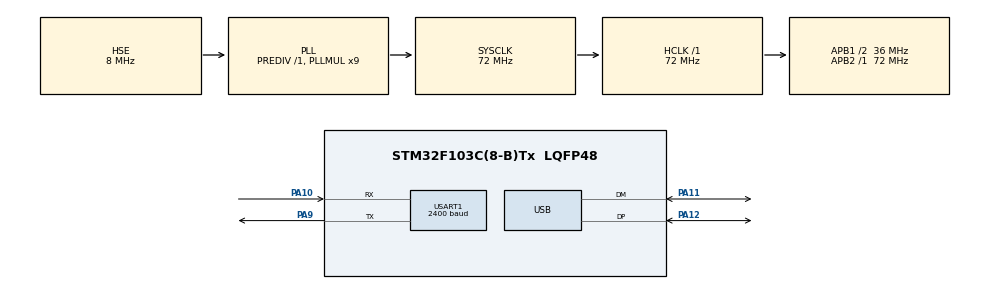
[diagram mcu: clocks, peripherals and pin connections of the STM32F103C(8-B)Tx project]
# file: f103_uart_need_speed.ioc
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Dma.Request0=USART1_TX
Dma.USART1_TX.0.Direction=DMA_MEMORY_TO_PERIPH
Dma.USART1_TX.0.Instance=DMA1_Channel4
Dma.USART1_TX.0.MemDataAlignment=DMA_MDATAALIGN_BYTE
Dma.USART1_TX.0.MemInc=DMA_MINC_ENABLE
Dma.USART1_TX.0.Mode=DMA_CIRCULAR
Dma.USART1_TX.0.PeriphDataAlignment=DMA_PDATAALIGN_BYTE
Dma.USART1_TX.0.PeriphInc=DMA_PINC_DISABLE
Dma.USART1_TX.0.Priority=DMA_PRIORITY_HIGH
Mcu.Family=STM32F1
Mcu.Name=STM32F103C(8-B)Tx
Mcu.Package=LQFP48
NVIC.DMA1_Channel4_IRQn=true\:0\:0\:false\:false\:true\:false\:true
NVIC.PriorityGroup=NVIC_PRIORITYGROUP_4
NVIC.TIM2_IRQn=true\:0\:0\:false\:false\:true\:true\:true
NVIC.USART1_IRQn=true\:0\:0\:false\:false\:true\:true\:true
NVIC.USB_LP_CAN1_RX0_IRQn=true\:0\:0\:false\:false\:true\:false\:true
PA10.Mode=Asynchronous
PA10.Signal=USART1_RX
PA11.Mode=Device
PA11.Signal=USB_DM
PA12.Mode=Device
PA12.Signal=USB_DP
PA13.Mode=Serial_Wire
PA13.Signal=SYS_JTMS-SWDIO
PA14.Mode=Serial_Wire
PA14.Signal=SYS_JTCK-SWCLK
PA9.Mode=Asynchronous
PA9.Signal=USART1_TX
PC14-OSC32_IN.Mode=LSE-External-Oscillator
PC14-OSC32_IN.Signal=RCC_OSC32_IN
PC15-OSC32_OUT.Mode=LSE-External-Oscillator
PC15-OSC32_OUT.Signal=RCC_OSC32_OUT
PD0-OSC_IN.Mode=HSE-External-Oscillator
PD0-OSC_IN.Signal=RCC_OSC_IN
PD1-OSC_OUT.Mode=HSE-External-Oscillator
PD1-OSC_OUT.Signal=RCC_OSC_OUT
ProjectManager.HeapSize=0x200
ProjectManager.StackSize=0x400
ProjectManager.TargetToolchain=STM32CubeIDE
RCC.AHBFreq_Value=72000000
RCC.APB1CLKDivider=RCC_HCLK_DIV2
RCC.APB1Freq_Value=36000000
RCC.APB1TimFreq_Value=72000000
RCC.APB2Freq_Value=72000000
RCC.APB2TimFreq_Value=72000000
RCC.HCLKFreq_Value=72000000
RCC.PLLMUL=RCC_PLL_MUL9
RCC.PLLSourceVirtual=RCC_PLLSOURCE_HSE
RCC.SYSCLKFreq_VALUE=72000000
RCC.SYSCLKSource=RCC_SYSCLKSOURCE_PLLCLK
RCC.USBFreq_Value=48000000
RCC.USBPrescaler=RCC_USBCLKSOURCE_PLL_DIV1_5
TIM2.AutoReloadPreload=TIM_AUTORELOAD_PRELOAD_ENABLE
TIM2.Period=7200
TIM2.Prescaler=1000
USART1.BaudRate=2400
USART1.VirtualMode=VM_ASYNC
USB_DEVICE.CLASS_NAME_FS=CDC
USB_DEVICE.VirtualMode=Cdc
USB_DEVICE.VirtualModeFS=Cdc_FS
VP_TIM2_VS_ClockSourceINT.Mode=Internal
VP_USB_DEVICE_VS_USB_DEVICE_CDC_FS.Mode=CDC_FS
board=custom

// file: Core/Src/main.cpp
/* USER CODE BEGIN Header */
/**
  ******************************************************************************
  * @file           : main.c
  * @brief          : Main program body
  ******************************************************************************
  * @attention
  *
  * Copyright (c) 2021 STMicroelectronics.
  * All rights reserved.
  *
  * This software is licensed under terms that can be found in the LICENSE file
  * in the root directory of this software component.
  * If no LICENSE file comes with this software, it is provided AS-IS.
  *
  ******************************************************************************
  */
/* USER CODE END Header */
#include "main.h"
#include "usb_device.h"

/* USER CODE BEGIN Includes */
#include "usbd_cdc_if.h"

#ifdef __cplusplus
extern "C"
{
#endif

/* USER CODE END Includes */

/* USER CODE BEGIN PM */

#define RX_BUFFER_SIZE 24
#define USB_CDC_TX_BUFFER_SIZE 98

/* USER CODE END PM */

TIM_HandleTypeDef htim2;

UART_HandleTypeDef huart1;
DMA_HandleTypeDef hdma_usart1_tx;

void SystemClock_Config(void);
static void MX_GPIO_Init(void);
static void MX_DMA_Init(void);
static void MX_USART1_UART_Init(void);
static void MX_TIM2_Init(void);

/* USER CODE BEGIN 0 */

// global vars
volatile uint16_t gv_char_read_count;
volatile uint16_t gv_char_read_speed;

uint8_t rxBuffer[RX_BUFFER_SIZE] = {0};

char g_to_usb_cdc[USB_COM_TX_BUFFER_SIZE];

uint8_t uart_intr_called;

void HAL_TIM_PeriodElapsedCallback(TIM_HandleTypeDef* htim)
{
	gv_char_read_speed = gv_char_read_count * 10; // char read speed scaling fix
	gv_char_read_count = 0;
}

void HAL_UART_RxCpltCallback(UART_HandleTypeDef *huart)
{
	sprintf(g_to_usb_cdc, "data : %s\t actual data rate : %u\r\n", rxBuffer, gv_char_read_speed);
	gv_char_read_count += RX_BUFFER_SIZE;
    HAL_UART_Receive_IT(&huart1, rxBuffer, RX_BUFFER_SIZE);
    uart_intr_called  = 1;
}

#ifdef __cplusplus
} // extern "C"
#endif

/* USER CODE END 0 */

int main(void)
{

  /* MCU Configuration--------------------------------------------------------*/

  /* Reset of all peripherals, Initializes the Flash interface and the Systick. */
  HAL_Init();

  /* Configure the system clock */
  SystemClock_Config();

  /* Initialize all configured peripherals */
  MX_GPIO_Init();
  MX_DMA_Init();
  MX_USART1_UART_Init();
  MX_USB_DEVICE_Init();
  MX_TIM2_Init();
  /* USER CODE BEGIN 2 */

  static const char dma_tx_string[] = "Finance Minister Arun Jaitley Tuesday hit out at former RBI governor Raghuram Rajan\
for predicting that the next banking crisis would be triggered by MSME lending, saying postmortem is easier\
than taking action when it was required. Rajan, who had as the chief economist at IMF warned of impending\
financial crisis of 2008, in a note to a parliamentary committee warned against ambitious credit targets and\
loan waivers, saying that they could be the sources of next banking crisis. Government should focus on sources\
of the next crisis, not just the last one.";

  /* USER CODE END 2 */

  /* Infinite loop */
  /* USER CODE BEGIN WHILE */

  // Begin Timer Intr
  HAL_TIM_Base_Start_IT(&htim2);

  // Cyclic DMA Tx
  HAL_UART_Transmit_DMA(&huart1, (uint8_t *)dma_tx_string, strlen(dma_tx_string));

  // UART Rx NVIC Intr,
  HAL_UART_Receive_IT(&huart1, rxBuffer, RX_BUFFER_SIZE);

  while (1)
  {
    /* USER CODE END WHILE */

    /* USER CODE BEGIN 3 */
	  if (uart_intr_called){
		  CDC_Transmit_FS((uint8_t *)g_to_usb_cdc, strlen(g_to_usb_cdc));
		  uart_intr_called = 0;
	  }

	  //HAL_Delay(100);
  }
  /* USER CODE END 3 */
}

#ifdef __cplusplus
extern "C"
{
#endif

void SystemClock_Config(void)
{
  RCC_OscInitTypeDef RCC_OscInitStruct = {0};
  RCC_ClkInitTypeDef RCC_ClkInitStruct = {0};
  RCC_PeriphCLKInitTypeDef PeriphClkInit = {0};

  /** Initializes the RCC Oscillators according to the specified parameters
  * in the RCC_OscInitTypeDef structure.
  */
  RCC_OscInitStruct.OscillatorType = RCC_OSCILLATORTYPE_HSE;
  RCC_OscInitStruct.HSEState = RCC_HSE_ON;
  RCC_OscInitStruct.HSEPredivValue = RCC_HSE_PREDIV_DIV1;
  RCC_OscInitStruct.HSIState = RCC_HSI_ON;
  RCC_OscInitStruct.PLL.PLLState = RCC_PLL_ON;
  RCC_OscInitStruct.PLL.PLLSource = RCC_PLLSOURCE_HSE;
  RCC_OscInitStruct.PLL.PLLMUL = RCC_PLL_MUL9;
  if (HAL_RCC_OscConfig(&RCC_OscInitStruct) != HAL_OK)
  {
    Error_Handler();
  }
  /** Initializes the CPU, AHB and APB buses clocks
  */
  RCC_ClkInitStruct.ClockType = RCC_CLOCKTYPE_HCLK|RCC_CLOCKTYPE_SYSCLK
                              |RCC_CLOCKTYPE_PCLK1|RCC_CLOCKTYPE_PCLK2;
  RCC_ClkInitStruct.SYSCLKSource = RCC_SYSCLKSOURCE_PLLCLK;
  RCC_ClkInitStruct.AHBCLKDivider = RCC_SYSCLK_DIV1;
  RCC_ClkInitStruct.APB1CLKDivider = RCC_HCLK_DIV2;
  RCC_ClkInitStruct.APB2CLKDivider = RCC_HCLK_DIV1;

  if (HAL_RCC_ClockConfig(&RCC_ClkInitStruct, FLASH_LATENCY_2) != HAL_OK)
  {
    Error_Handler();
  }
  PeriphClkInit.PeriphClockSelection = RCC_PERIPHCLK_USB;
  PeriphClkInit.UsbClockSelection = RCC_USBCLKSOURCE_PLL_DIV1_5;
  if (HAL_RCCEx_PeriphCLKConfig(&PeriphClkInit) != HAL_OK)
  {
    Error_Handler();
  }
}

static void MX_TIM2_Init(void)
{

  TIM_ClockConfigTypeDef sClockSourceConfig = {0};
  TIM_MasterConfigTypeDef sMasterConfig = {0};

  htim2.Instance = TIM2;
  htim2.Init.Prescaler = 1000;
  htim2.Init.CounterMode = TIM_COUNTERMODE_UP;
  htim2.Init.Period = 7200;
  htim2.Init.ClockDivision = TIM_CLOCKDIVISION_DIV1;
  htim2.Init.AutoReloadPreload = TIM_AUTORELOAD_PRELOAD_ENABLE;
  if (HAL_TIM_Base_Init(&htim2) != HAL_OK)
  {
    Error_Handler();
  }
  sClockSourceConfig.ClockSource = TIM_CLOCKSOURCE_INTERNAL;
  if (HAL_TIM_ConfigClockSource(&htim2, &sClockSourceConfig) != HAL_OK)
  {
    Error_Handler();
  }
  sMasterConfig.MasterOutputTrigger = TIM_TRGO_RESET;
  sMasterConfig.MasterSlaveMode = TIM_MASTERSLAVEMODE_DISABLE;
  if (HAL_TIMEx_MasterConfigSynchronization(&htim2, &sMasterConfig) != HAL_OK)
  {
    Error_Handler();
  }

}

static void MX_USART1_UART_Init(void)
{

  huart1.Instance = USART1;
  huart1.Init.BaudRate = 2400;
  huart1.Init.WordLength = UART_WORDLENGTH_8B;
  huart1.Init.StopBits = UART_STOPBITS_1;
  huart1.Init.Parity = UART_PARITY_NONE;
  huart1.Init.Mode = UART_MODE_TX_RX;
  huart1.Init.HwFlowCtl = UART_HWCONTROL_NONE;
  huart1.Init.OverSampling = UART_OVERSAMPLING_16;
  if (HAL_UART_Init(&huart1) != HAL_OK)
  {
    Error_Handler();
  }

}

static void MX_DMA_Init(void)
{

  /* DMA controller clock enable */
  __HAL_RCC_DMA1_CLK_ENABLE();

  /* DMA interrupt init */
  /* DMA1_Channel4_IRQn interrupt configuration */
  HAL_NVIC_SetPriority(DMA1_Channel4_IRQn, 0, 0);
  HAL_NVIC_EnableIRQ(DMA1_Channel4_IRQn);

}

static void MX_GPIO_Init(void)
{

  /* GPIO Ports Clock Enable */
  __HAL_RCC_GPIOC_CLK_ENABLE();
  __HAL_RCC_GPIOD_CLK_ENABLE();
  __HAL_RCC_GPIOA_CLK_ENABLE();

}

void Error_Handler(void)
{
  __disable_irq();
  while (1)
  {
  }
}

#ifdef __cplusplus
} // extern "C"
#endif
